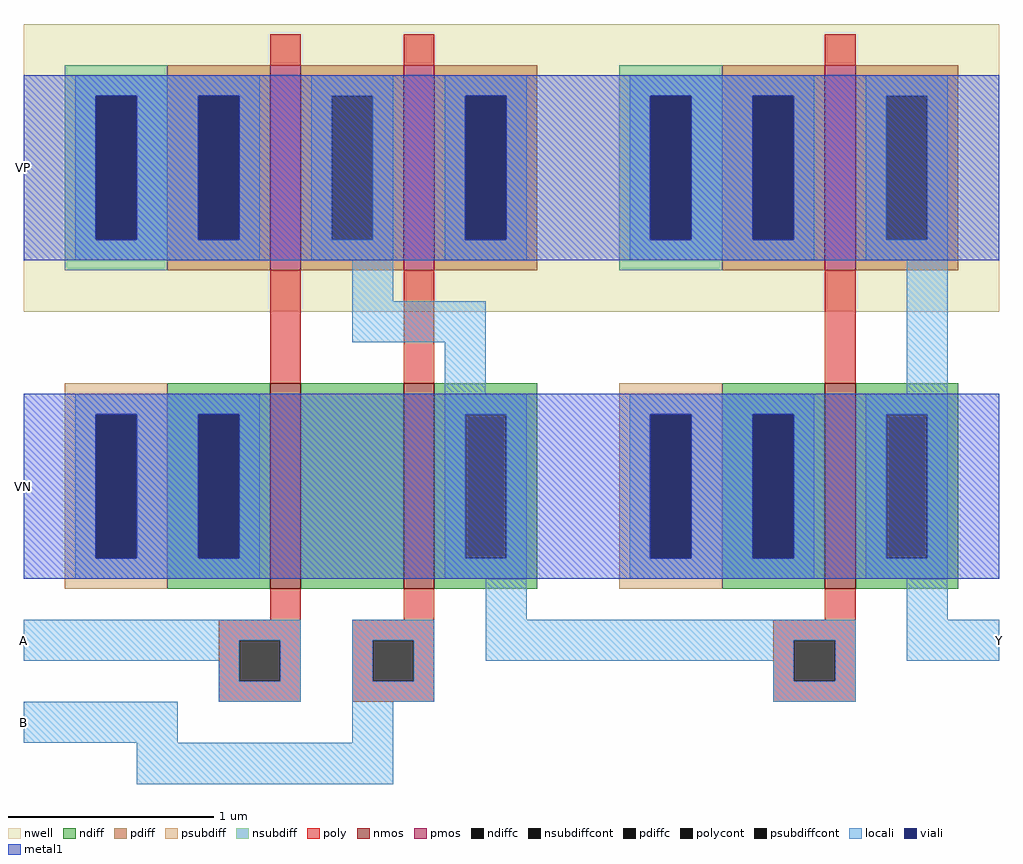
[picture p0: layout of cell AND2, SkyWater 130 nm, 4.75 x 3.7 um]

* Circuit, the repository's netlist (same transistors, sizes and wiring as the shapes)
* NGSPICE file created from AND2.ext - technology: sky130A

.subckt inverter A Y VP VN
X0 Y A VP VP sky130_fd_pr__pfet_01v8 ad=0.5 pd=3 as=0.5 ps=3 w=1 l=0.15
X1 Y A VN VN sky130_fd_pr__nfet_01v8 ad=0.5 pd=3 as=0.5 ps=3 w=1 l=0.15
.ends

.subckt NAND2 A B Y VP VN
X0 Y B a_30_0# VN sky130_fd_pr__nfet_01v8 ad=0.5 pd=3 as=0.25 ps=1.5 w=1 l=0.15
X1 Y A VP VP sky130_fd_pr__pfet_01v8 ad=0.25 pd=1.5 as=0.5 ps=3 w=1 l=0.15
X2 a_30_0# A VN VN sky130_fd_pr__nfet_01v8 ad=0.25 pd=1.5 as=0.5 ps=3 w=1 l=0.15
X3 VP B Y VP sky130_fd_pr__pfet_01v8 ad=0.5 pd=3 as=0.25 ps=1.5 w=1 l=0.15
.ends


* Top level circuit AND2

Xinverter_0 NAND2_0/Y Y VP VN inverter
XNAND2_0 A B NAND2_0/Y VP VN NAND2
.end

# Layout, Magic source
magic
tech sky130A
<< locali >>
rect 0 60 25 80
rect 450 60 475 80
rect 0 20 25 40
<< metal1 >>
rect 0 255 25 345
rect 0 100 25 190
use inverter  inverter_0
transform 1 0 390 0 1 95
box -120 -55 85 275
use NAND2  NAND2_0
transform 1 0 120 0 1 95
box -120 -95 150 275
<< labels >>
rlabel locali 0 70 0 70 7 A
rlabel locali 0 30 0 30 7 B
rlabel metal1 0 300 0 300 7 VP
rlabel metal1 0 145 0 145 7 VN
rlabel locali 475 70 475 70 3 Y
<< end >>

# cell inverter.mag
magic
tech sky130A
<< nwell >>
rect -120 135 85 275
<< nmos >>
rect 0 0 15 100
<< pmos >>
rect 0 155 15 255
<< ndiff >>
rect -50 85 0 100
rect -50 15 -35 85
rect -15 15 0 85
rect -50 0 0 15
rect 15 85 65 100
rect 15 15 30 85
rect 50 15 65 85
rect 15 0 65 15
<< pdiff >>
rect -50 240 0 255
rect -50 170 -35 240
rect -15 170 0 240
rect -50 155 0 170
rect 15 240 65 255
rect 15 170 30 240
rect 50 170 65 240
rect 15 155 65 170
<< ndiffc >>
rect -35 15 -15 85
rect 30 15 50 85
<< pdiffc >>
rect -35 170 -15 240
rect 30 170 50 240
<< psubdiff >>
rect -100 85 -50 100
rect -100 15 -85 85
rect -65 15 -50 85
rect -100 0 -50 15
<< nsubdiff >>
rect -100 240 -50 255
rect -100 170 -85 240
rect -65 170 -50 240
rect -100 155 -50 170
<< psubdiffcont >>
rect -85 15 -65 85
<< nsubdiffcont >>
rect -85 170 -65 240
<< poly >>
rect 0 255 15 270
rect 0 100 15 155
rect 0 -15 15 0
rect -25 -25 15 -15
rect -25 -45 -15 -25
rect 5 -45 15 -25
rect -25 -55 15 -45
<< polycont >>
rect -15 -45 5 -25
<< locali >>
rect -95 240 -5 250
rect -95 170 -85 240
rect -65 170 -35 240
rect -15 170 -5 240
rect -95 160 -5 170
rect 20 240 60 250
rect 20 170 30 240
rect 50 170 60 240
rect 20 160 60 170
rect 40 95 60 160
rect -95 85 -5 95
rect -95 15 -85 85
rect -65 15 -35 85
rect -15 15 -5 85
rect -95 5 -5 15
rect 20 85 60 95
rect 20 15 30 85
rect 50 15 60 85
rect 20 5 60 15
rect 40 -15 60 5
rect -120 -25 15 -15
rect -120 -35 -15 -25
rect -25 -45 -15 -35
rect 5 -45 15 -25
rect 40 -35 85 -15
rect -25 -55 15 -45
<< viali >>
rect -85 170 -65 240
rect -35 170 -15 240
rect -85 15 -65 85
rect -35 15 -15 85
<< metal1 >>
rect -120 240 85 250
rect -120 170 -85 240
rect -65 170 -35 240
rect -15 170 85 240
rect -120 160 85 170
rect -120 85 85 95
rect -120 15 -85 85
rect -65 15 -35 85
rect -15 15 85 85
rect -120 5 85 15
<< labels >>
rlabel locali -120 -25 -120 -25 7 A
port 1 w
rlabel locali 85 -25 85 -25 3 Y
port 2 e
rlabel metal1 -120 205 -120 205 7 VP
port 3 w
rlabel metal1 -120 50 -120 50 7 VN
port 4 w
<< end >>

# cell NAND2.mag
magic
tech sky130A
<< nwell >>
rect -120 135 150 275
<< nmos >>
rect 0 0 15 100
rect 65 0 80 100
<< pmos >>
rect 0 155 15 255
rect 65 155 80 255
<< ndiff >>
rect -50 85 0 100
rect -50 15 -35 85
rect -15 15 0 85
rect -50 0 0 15
rect 15 0 65 100
rect 80 85 130 100
rect 80 15 95 85
rect 115 15 130 85
rect 80 0 130 15
<< pdiff >>
rect -50 240 0 255
rect -50 170 -35 240
rect -15 170 0 240
rect -50 155 0 170
rect 15 240 65 255
rect 15 170 30 240
rect 50 170 65 240
rect 15 155 65 170
rect 80 240 130 255
rect 80 170 95 240
rect 115 170 130 240
rect 80 155 130 170
<< ndiffc >>
rect -35 15 -15 85
rect 95 15 115 85
<< pdiffc >>
rect -35 170 -15 240
rect 30 170 50 240
rect 95 170 115 240
<< psubdiff >>
rect -100 85 -50 100
rect -100 15 -85 85
rect -65 15 -50 85
rect -100 0 -50 15
<< nsubdiff >>
rect -100 240 -50 255
rect -100 170 -85 240
rect -65 170 -50 240
rect -100 155 -50 170
<< psubdiffcont >>
rect -85 15 -65 85
<< nsubdiffcont >>
rect -85 170 -65 240
<< poly >>
rect 0 255 15 270
rect 65 255 80 270
rect 0 100 15 155
rect 65 100 80 155
rect 0 -15 15 0
rect 65 -15 80 0
rect -25 -25 15 -15
rect -25 -45 -15 -25
rect 5 -45 15 -25
rect -25 -55 15 -45
rect 40 -25 80 -15
rect 40 -45 50 -25
rect 70 -45 80 -25
rect 40 -55 80 -45
<< polycont >>
rect -15 -45 5 -25
rect 50 -45 70 -25
<< locali >>
rect -95 240 -5 250
rect -95 170 -85 240
rect -65 170 -35 240
rect -15 170 -5 240
rect -95 160 -5 170
rect 20 240 60 250
rect 20 170 30 240
rect 50 170 60 240
rect 20 160 60 170
rect 85 240 125 250
rect 85 170 95 240
rect 115 170 125 240
rect 85 160 125 170
rect 40 140 60 160
rect 40 120 105 140
rect 85 95 105 120
rect -95 85 -5 95
rect -95 15 -85 85
rect -65 15 -35 85
rect -15 15 -5 85
rect -95 5 -5 15
rect 85 85 125 95
rect 85 15 95 85
rect 115 15 125 85
rect 85 5 125 15
rect 105 -15 125 5
rect -120 -25 15 -15
rect -120 -35 -15 -25
rect -25 -45 -15 -35
rect 5 -45 15 -25
rect -25 -55 15 -45
rect 40 -25 80 -15
rect 40 -45 50 -25
rect 70 -45 80 -25
rect 105 -35 150 -15
rect 40 -55 80 -45
rect -120 -75 -45 -55
rect 40 -75 60 -55
rect -65 -95 60 -75
<< viali >>
rect -85 170 -65 240
rect -35 170 -15 240
rect 95 170 115 240
rect -85 15 -65 85
rect -35 15 -15 85
<< metal1 >>
rect -120 240 150 250
rect -120 170 -85 240
rect -65 170 -35 240
rect -15 170 95 240
rect 115 170 150 240
rect -120 160 150 170
rect -120 85 150 95
rect -120 15 -85 85
rect -65 15 -35 85
rect -15 15 150 85
rect -120 5 150 15
<< labels >>
rlabel locali -120 -25 -120 -25 7 A
port 1 w
rlabel locali -120 -65 -120 -65 7 B
port 2 w
rlabel locali 150 -25 150 -25 3 Y
port 3 e
rlabel metal1 -120 205 -120 205 7 VP
port 4 w
rlabel metal1 -120 50 -120 50 7 VN
port 5 w
<< end >>
